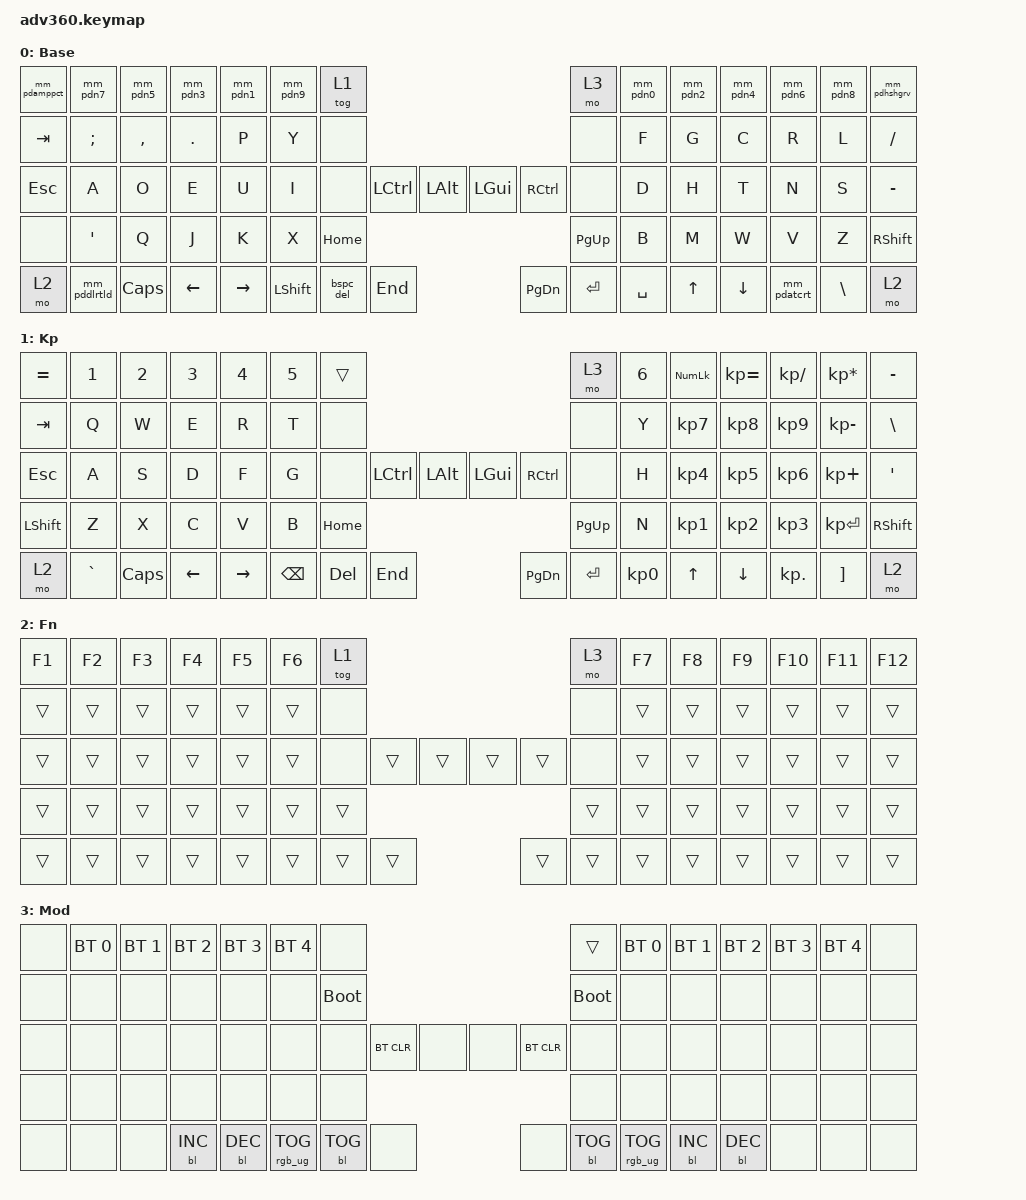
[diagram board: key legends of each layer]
/*
 * Copyright (c) 2020 The ZMK Contributors
 *
 * SPDX-License-Identifier: MIT
 *
 * Upgraded from V2.0 (Programmers Dvorak + custom mod-morphs)
 * to V3.0 matrix structure. All custom bindings preserved.
 * Mod-morphs converted to modern explicit form (no preprocessor macro).
 */

#include <behaviors.dtsi>
#include <dt-bindings/zmk/keys.h>
#include <dt-bindings/zmk/bt.h>
#include <dt-bindings/zmk/rgb.h>
#include <dt-bindings/zmk/stp.h>
#include <dt-bindings/zmk/backlight.h>
#include <dt-bindings/zmk/pointing.h>

/ {
  behaviors {
    #include "macros.dtsi"
    #include "version.dtsi"

    // === Stock / Recommended Mod-Morphs ===
    
    // Grave Escape (official stock behaviour – already available via behaviors.dtsi,
    // but shown here for completeness / if you want to customise it)
    gresc: grave_escape {
        compatible = "zmk,behavior-mod-morph";
        #binding-cells = <0>;
        bindings = <&kp ESC>, <&kp GRAVE>;
        mods = <(MOD_LGUI|MOD_LSFT|MOD_RGUI|MOD_RSFT)>;
    };
    
    // Shift + Backspace → Delete
    // (Left Shift is swallowed, Right Shift is kept so you can still do Shift+Delete)
    bspc_del: backspace_delete {
        compatible = "zmk,behavior-mod-morph";
        #binding-cells = <0>;
        bindings = <&kp BACKSPACE>, <&kp DELETE>;
        mods = <(MOD_LSFT|MOD_RSFT)>;
        keep-mods = <(MOD_RSFT)>;
    };
    
    // Optional but popular punctuation morphs
    dot_colon: dot_colon {
        compatible = "zmk,behavior-mod-morph";
        #binding-cells = <0>;
        bindings = <&kp DOT>, <&kp COLON>;
        mods = <(MOD_LSFT|MOD_RSFT)>;
    };
    
    comma_semi: comma_semicolon {
        compatible = "zmk,behavior-mod-morph";
        #binding-cells = <0>;
        bindings = <&kp COMMA>, <&kp SEMICOLON>;
        mods = <(MOD_LSFT|MOD_RSFT)>;
    };

    // Programmers Dvorak mod-morphs (modern explicit form)
    mm_pdamppct: mm_pdamppct {
      compatible = "zmk,behavior-mod-morph";
      #binding-cells = <0>;
      bindings = <&kp AMPERSAND>, <&kp PERCENT>;
      mods = <(MOD_LSFT|MOD_RSFT)>;
    };
    mm_pdn7: mm_pdn7 {
      compatible = "zmk,behavior-mod-morph";
      #binding-cells = <0>;
      bindings = <&kp LEFT_BRACKET>, <&kp N7>;
      mods = <(MOD_LSFT|MOD_RSFT)>;
    };
    mm_pdn5: mm_pdn5 {
      compatible = "zmk,behavior-mod-morph";
      #binding-cells = <0>;
      bindings = <&kp LEFT_BRACE>, <&kp N5>;
      mods = <(MOD_LSFT|MOD_RSFT)>;
    };
    mm_pdn3: mm_pdn3 {
      compatible = "zmk,behavior-mod-morph";
      #binding-cells = <0>;
      bindings = <&kp RIGHT_BRACE>, <&kp N3>;
      mods = <(MOD_LSFT|MOD_RSFT)>;
    };
    mm_pdn1: mm_pdn1 {
      compatible = "zmk,behavior-mod-morph";
      #binding-cells = <0>;
      bindings = <&kp LEFT_PARENTHESIS>, <&kp N1>;
      mods = <(MOD_LSFT|MOD_RSFT)>;
    };
    mm_pdn9: mm_pdn9 {
      compatible = "zmk,behavior-mod-morph";
      #binding-cells = <0>;
      bindings = <&kp EQUAL>, <&kp N9>;
      mods = <(MOD_LSFT|MOD_RSFT)>;
    };
    mm_pdn0: mm_pdn0 {
      compatible = "zmk,behavior-mod-morph";
      #binding-cells = <0>;
      bindings = <&kp ASTERISK>, <&kp N0>;
      mods = <(MOD_LSFT|MOD_RSFT)>;
    };
    mm_pdn2: mm_pdn2 {
      compatible = "zmk,behavior-mod-morph";
      #binding-cells = <0>;
      bindings = <&kp RIGHT_PARENTHESIS>, <&kp N2>;
      mods = <(MOD_LSFT|MOD_RSFT)>;
    };
    mm_pdn4: mm_pdn4 {
      compatible = "zmk,behavior-mod-morph";
      #binding-cells = <0>;
      bindings = <&kp PLUS>, <&kp N4>;
      mods = <(MOD_LSFT|MOD_RSFT)>;
    };
    mm_pdn6: mm_pdn6 {
      compatible = "zmk,behavior-mod-morph";
      #binding-cells = <0>;
      bindings = <&kp RIGHT_BRACKET>, <&kp N6>;
      mods = <(MOD_LSFT|MOD_RSFT)>;
    };
    mm_pdn8: mm_pdn8 {
      compatible = "zmk,behavior-mod-morph";
      #binding-cells = <0>;
      bindings = <&kp EXCL>, <&kp N8>;
      mods = <(MOD_LSFT|MOD_RSFT)>;
    };
    mm_pdhshgrv: mm_pdhshgrv {
      compatible = "zmk,behavior-mod-morph";
      #binding-cells = <0>;
      bindings = <&kp HASH>, <&kp GRAVE>;
      mods = <(MOD_LSFT|MOD_RSFT)>;
    };
    mm_pddlrtld: mm_pddlrtld {
      compatible = "zmk,behavior-mod-morph";
      #binding-cells = <0>;
      bindings = <&kp DOLLAR>, <&kp TILDE>;
      mods = <(MOD_LSFT|MOD_RSFT)>;
    };
    mm_pdatcrt: mm_pdatcrt {
      compatible = "zmk,behavior-mod-morph";
      #binding-cells = <0>;
      bindings = <&kp AT_SIGN>, <&kp CARET>;
      mods = <(MOD_LSFT|MOD_RSFT)>;
    };

    hm: homerow_mods {
      compatible = "zmk,behavior-hold-tap";
      label = "HOMEROW_MODS";
      #binding-cells = <2>;
      tapping-term-ms = <200>;
      quick_tap_ms = <175>;
      flavor = "tap-preferred";
      bindings = <&kp>, <&kp>;
    };
  };

  keymap {
    compatible = "zmk,keymap";

    default_layer {
      display-name = "Base";
      bindings = <
        &mm_pdamppct &mm_pdn7   &mm_pdn5  &mm_pdn3  &mm_pdn1  &mm_pdn9  &tog 1                                                                         &mo 3  &mm_pdn0  &mm_pdn2  &mm_pdn4  &mm_pdn6  &mm_pdn8  &mm_pdhshgrv
        &kp TAB      &kp SEMICOLON &kp COMMA &kp DOT  &kp P     &kp Y     &none                                                                        &none  &kp F     &kp G     &kp C     &kp R     &kp L     &kp SLASH
        &kp ESC      &kp A      &kp O     &kp E     &kp U     &kp I     &none                &kp LCTRL    &kp LALT       &kp LGUI  &kp RCTRL           &none  &kp D     &kp H     &kp T     &kp N     &kp S     &kp MINUS
        &none        &kp SINGLE_QUOTE &kp Q  &kp J    &kp K     &kp X                                     &kp HOME       &kp PG_UP                           &kp B  &kp M     &kp W     &kp V     &kp Z     &kp RSHFT
        &mo 2        &mm_pddlrtld &kp CAPS  &kp LEFT  &kp RIGHT               &kp LEFT_SHIFT &bspc_del &kp END        &kp PG_DN &kp ENTER &kp SPACE              &kp UP &kp DOWN  &mm_pdatcrt &kp BACKSLASH &mo 2
      >;
    };

    keypad {
      display-name = "Kp";
      bindings = <
        &kp EQUAL    &kp N1     &kp N2    &kp N3    &kp N4    &kp N5    &trans                                                           &mo 3  &kp N6    &kp KP_NUM &kp KP_EQUAL &kp KP_DIVIDE &kp KP_MULTIPLY &kp MINUS
        &kp TAB      &kp Q      &kp W     &kp E     &kp R     &kp T     &none                                                            &none  &kp Y     &kp KP_N7  &kp KP_N8    &kp KP_N9     &kp KP_MINUS    &kp BSLH
        &kp ESC      &kp A      &kp S     &kp D     &kp F     &kp G     &none           &kp LCTRL &kp LALT &kp LGUI  &kp RCTRL           &none  &kp H     &kp KP_N4  &kp KP_N5    &kp KP_N6     &kp KP_PLUS     &kp SQT
        &kp LSHFT    &kp Z      &kp X     &kp C     &kp V     &kp B                            &kp HOME  &kp PG_UP                           &kp N  &kp KP_N1  &kp KP_N2    &kp KP_N3     &kp KP_ENTER    &kp RSHFT
        &mo 2        &kp GRAVE  &kp CAPS  &kp LEFT  &kp RIGHT               &kp BSPC  &kp DEL   &kp END  &kp PG_DN &kp ENTER &kp KP_N0              &kp UP     &kp DOWN     &kp KP_DOT    &kp RBKT        &mo 2
      >;
    };

    fn {
      display-name = "Fn";
      bindings = <
        &kp F1       &kp F2     &kp F3    &kp F4    &kp F5    &kp F6    &tog 1                                                           &mo 3  &kp F7    &kp F8     &kp F9       &kp F10      &kp F11        &kp F12
        &trans       &trans     &trans    &trans    &trans    &trans    &none                                                            &none  &trans    &trans     &trans       &trans       &trans         &trans
        &trans       &trans     &trans    &trans    &trans    &trans    &none           &trans   &trans   &trans    &trans               &none  &trans    &trans     &trans       &trans       &trans         &trans
        &trans       &trans     &trans    &trans    &trans    &trans                           &trans    &trans                              &trans &trans     &trans       &trans       &trans         &trans
        &trans       &trans     &trans    &trans    &trans                      &trans  &trans   &trans  &trans    &trans    &trans               &trans     &trans       &trans       &trans         &trans
      >;
    };

    mod {
      display-name = "Mod";
      bindings = <
        &none        &bt BT_SEL 0 &bt BT_SEL 1 &bt BT_SEL 2 &bt BT_SEL 3 &bt BT_SEL 4 &none                                                                     &trans                 &bt BT_SEL 0 &bt BT_SEL 1 &bt BT_SEL 2 &bt BT_SEL 3 &bt BT_SEL 4 &none
        &none        &none        &none        &none        &none        &none        &bootloader                                                               &bootloader            &none        &none        &none        &none        &none        &none
        &none        &none        &none        &none        &none        &none        &none                   &bt BT_CLR &none &none &bt BT_CLR              &none  &none        &none        &none        &none        &none        &none
        &none        &none        &none        &none        &none        &none                                      &none &none                                                        &none        &none        &none        &none        &none        &none
        &none        &none        &none        &bl BL_INC   &bl BL_DEC                                 &rgb_ug RGB_TOG &bl BL_TOG &none &none      &bl BL_TOG &rgb_ug RGB_TOG                                     &bl BL_INC   &bl BL_DEC   &none &none &none
      >;
    };

    extra1 { 
      display-name = "Red";    
      status = "reserved";
    };

    extra2 { 
      display-name = "Purple";    
      status = "reserved";
    };

    extra3 { 
      display-name = "Cyan";    
      status = "reserved";
    };

    extra4 { 
      display-name = "Yellow";    
      status = "reserved";
    };
  };
};
